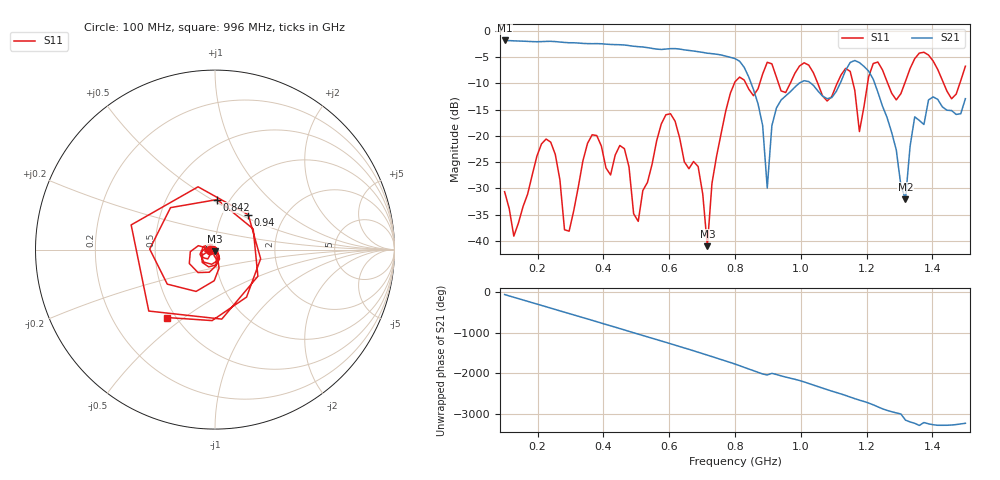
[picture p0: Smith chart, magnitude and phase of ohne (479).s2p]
! NanoVNA-App
! Date: 2025-09-25 14:24:31
! Start: 100MHz Stop: 1,5GHz Points: 101
! S-Parameter data: F S11 S21 S12 S22
# Hz S RI R 50
!  Frequency  S11_Real  S11_Imag  S21_Real  S21_Imag  S12_Real  S12_Imag  S22_Real  S22_Imag
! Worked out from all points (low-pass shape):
!   101 points, 100 MHz to 1.5 GHz, reference 50 ohm
!   highest |S21| = -1.79 dB at 100 MHz (marker M1); lowest = -32.1 dB at 1.318 GHz (marker M2)
!   |S21| within 3 dB of the highest: start of sweep to 772.3 MHz
!   lowest |S11| = -41.0 dB at 716 MHz (marker M3), VSWR 1.02, Z = 49.9 - j0.876 ohm
!   |S11| at or under -10 dB: start of sweep to 797.9 MHz; 833.2 MHz to 875 MHz (41.8 MHz wide, 4.89 % of centre); 1.052 GHz to 1.11 GHz (58.54 MHz wide, 5.42 % of centre) (the widest 3 of 7)
!   S12 and S22 are empty: the file has one direction only
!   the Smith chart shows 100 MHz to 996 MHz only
!   S11 on the Smith chart (normalised r, x): 100 MHz: 0.94, -0.01; 842 MHz: 0.88, +0.53; 940 MHz: 1.32, +0.55; 996 MHz: 0.45, -0.43
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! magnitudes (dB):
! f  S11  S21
! 100 MHz  -30.6  -1.8
! 128 MHz  -39.1  -1.9
! 226 MHz  -20.6  -2.0
! 296 MHz  -38.2  -2.2
! 338 MHz  -24.7  -2.4
! 464 MHz  -22.4  -2.7
! 506 MHz  -36.3  -3.0
! 576 MHz  -17.7  -3.5
! 688 MHz  -25.8  -3.9
! 716 MHz  -41.0  -4.2
! 800 MHz  -9.7  -5.2
! 842 MHz  -11.1  -8.8
! 898 MHz  -6.0  -29.9
! 940 MHz  -11.4  -13.2
! 996 MHz  -6.7  -9.9
! 1.038 GHz  -7.9  -10.3
! 1.178 GHz  -19.2  -6.0
! 1.22 GHz  -6.2  -9.2
! 1.276 GHz  -11.8  -19.3
! 1.318 GHz  -9.6  -32.1
! 1.346 GHz  -5.3  -16.4
! 1.5 GHz  -6.7  -12.9
